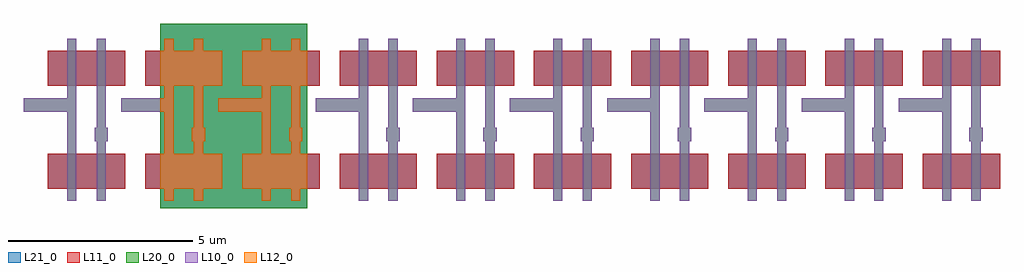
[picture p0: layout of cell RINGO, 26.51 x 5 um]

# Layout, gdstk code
import gdstk
lib = gdstk.Library(unit=1e-6, precision=1e-09)
def R(c, l, rs):  # rectangles x0, y0, x1, y1
    for r in rs: c.add(gdstk.rectangle(r[:2], r[2:], *l))
def A(c, l, x, y, w, h, nx, ny, dx, dy):  # array of equal rectangles
    R(c, l, [(x+i*dx, y+j*dy, x+i*dx+w, y+j*dy+h) for i in range(nx) for j in range(ny)])
L10_0 = (10, 0)
L11_0 = (11, 0)
L12_0 = (12, 0)
L20_0 = (20, 0)
L21_0 = (21, 0)

trans_clip_var = lib.new_cell('TRANS$CLIP_VAR')
R(trans_clip_var, L10_0, [(-0.24,-0.475,0.65,0.475)])
R(trans_clip_var, L12_0, [(-0.24,-0.475,0.65,0.475)])

trans = lib.new_cell('TRANS')
R(trans, L10_0, [(-0.65,-0.475,0.65,0.475)])
R(trans, L12_0, [(-0.65,-0.475,0.65,0.475)])

trans_1_1 = lib.new_cell('TRANS$1$1')
R(trans_1_1, L11_0, [(-0.125,-0.8,0.125,0.8)])
R(trans_1_1, L12_0, [(-0.125,-0.8,0.125,0.8)])

inv2_clip_var = lib.new_cell('INV2$CLIP_VAR')
R(inv2_clip_var, L11_0, [(-0.525,-0.25,-0.275,2.25), (0.275,-0.25,0.525,2.25), (0.22,0.82,0.58,1.18), (-0.64,1.62,-0.4,1.98)])
R(inv2_clip_var, L12_0, [(-0.525,-0.25,-0.275,2.25), (0.275,-0.25,0.525,2.25), (0.22,0.82,0.58,1.18), (-0.64,1.62,-0.4,1.98)])
inv2_clip_var.add(gdstk.Reference(trans_clip_var, (-0.4,0)))
inv2_clip_var.add(gdstk.Reference(trans_clip_var, (-0.4,2.8)))
inv2_clip_var.add(gdstk.Reference(trans, (0.4,0), x_reflection=True))
inv2_clip_var.add(gdstk.Reference(trans, (0.4,2.8), x_reflection=True))
inv2_clip_var.add(gdstk.Reference(trans_1_1, (-0.4,0)))
inv2_clip_var.add(gdstk.Reference(trans_1_1, (-0.4,2.8)))
inv2_clip_var.add(gdstk.Reference(trans_1_1, (0.4,0), x_reflection=True))
inv2_clip_var.add(gdstk.Reference(trans_1_1, (0.4,2.8), x_reflection=True))

trans_clip_var_1 = lib.new_cell('TRANS$CLIP_VAR$1')
R(trans_clip_var_1, L10_0, [(-0.65,-0.475,0.32,0.475)])
R(trans_clip_var_1, L12_0, [(-0.65,-0.475,0.32,0.475)])

inv2_clip_var_1 = lib.new_cell('INV2$CLIP_VAR$1')
R(inv2_clip_var_1, L11_0, [(-0.525,-0.25,-0.275,2.25), (0.275,-0.25,0.525,2.25), (0.22,0.82,0.58,1.18), (-1.7,1.62,-0.4,1.98)])
R(inv2_clip_var_1, L12_0, [(-0.525,-0.25,-0.275,2.25), (0.275,-0.25,0.525,2.25), (0.22,0.82,0.58,1.18), (-1.7,1.62,-0.4,1.98)])
inv2_clip_var_1.add(gdstk.Reference(trans, (-0.4,0)))
inv2_clip_var_1.add(gdstk.Reference(trans, (-0.4,2.8)))
inv2_clip_var_1.add(gdstk.Reference(trans_clip_var_1, (0.4,0), x_reflection=True))
inv2_clip_var_1.add(gdstk.Reference(trans_clip_var_1, (0.4,2.8), x_reflection=True))
inv2_clip_var_1.add(gdstk.Reference(trans_1_1, (-0.4,0)))
inv2_clip_var_1.add(gdstk.Reference(trans_1_1, (-0.4,2.8)))
inv2_clip_var_1.add(gdstk.Reference(trans_1_1, (0.4,0), x_reflection=True))
inv2_clip_var_1.add(gdstk.Reference(trans_1_1, (0.4,2.8), x_reflection=True))

trans_1 = lib.new_cell('TRANS$1')
R(trans_1, L10_0, [(-0.125,-0.8,0.125,0.8)])
R(trans_1, L11_0, [(-0.65,-0.475,0.65,0.475)])
R(trans_1, L21_0, [(-0.65,-0.475,0.65,0.475)])

inv2 = lib.new_cell('INV2')
R(inv2, L10_0, [(-0.525,-0.25,-0.275,2.25), (0.275,-0.25,0.525,2.25), (0.22,0.82,0.58,1.18), (-1.7,1.62,-0.4,1.98)])
inv2.add(gdstk.Reference(trans_1, (-0.4,0)))
inv2.add(gdstk.Reference(trans_1, (-0.4,2.8)))
inv2.add(gdstk.Reference(trans_1, (0.4,0), x_reflection=True))
inv2.add(gdstk.Reference(trans_1, (0.4,2.8), x_reflection=True))

ringo = lib.new_cell('RINGO')
A(ringo, L20_0, 0.22, 0.82, 0.36, 0.36, 10, 1, 2.64, 0)
A(ringo, L20_0, -1.7, 1.62, 1.3, 0.36, 10, 1, 2.64, 0)
R(ringo, L20_0, [(2,-1,6,4), (-0.525,-0.8,-0.275,0.8), (0.275,-0.8,0.525,0.8), (2.115,-0.8,2.365,0.8), (2.915,-0.8,3.165,0.8), (4.755,-0.8,5.005,0.8), (5.555,-0.8,5.805,0.8), (7.395,-0.8,7.645,0.8), (8.195,-0.8,8.445,0.8), (10.035,-0.8,10.285,0.8), (10.835,-0.8,11.085,0.8), (12.675,-0.8,12.925,0.8), (13.475,-0.8,13.725,0.8), (15.315,-0.8,15.565,0.8), (16.115,-0.8,16.365,0.8), (17.955,-0.8,18.205,0.8), (18.755,-0.8,19.005,0.8), (20.595,-0.8,20.845,0.8), (21.395,-0.8,21.645,0.8), (23.235,-0.8,23.485,0.8), (24.035,-0.8,24.285,0.8), (-0.525,-0.25,-0.275,2.25), (0.275,-0.25,0.525,2.25), (2.115,-0.25,2.365,2.25), (2.915,-0.25,3.165,2.25), (4.755,-0.25,5.005,2.25), (5.555,-0.25,5.805,2.25), (7.395,-0.25,7.645,2.25), (8.195,-0.25,8.445,2.25), (10.035,-0.25,10.285,2.25), (10.835,-0.25,11.085,2.25), (12.675,-0.25,12.925,2.25), (13.475,-0.25,13.725,2.25), (15.315,-0.25,15.565,2.25), (16.115,-0.25,16.365,2.25), (17.955,-0.25,18.205,2.25), (18.755,-0.25,19.005,2.25), (20.595,-0.25,20.845,2.25), (21.395,-0.25,21.645,2.25), (23.235,-0.25,23.485,2.25), (24.035,-0.25,24.285,2.25), (-0.525,2,-0.275,3.6), (0.275,2,0.525,3.6), (2.115,2,2.365,3.6), (2.915,2,3.165,3.6), (4.755,2,5.005,3.6), (5.555,2,5.805,3.6), (7.395,2,7.645,3.6), (8.195,2,8.445,3.6), (10.035,2,10.285,3.6), (10.835,2,11.085,3.6), (12.675,2,12.925,3.6), (13.475,2,13.725,3.6), (15.315,2,15.565,3.6), (16.115,2,16.365,3.6), (17.955,2,18.205,3.6), (18.755,2,19.005,3.6), (20.595,2,20.845,3.6), (21.395,2,21.645,3.6), (23.235,2,23.485,3.6), (24.035,2,24.285,3.6)])
R(ringo, L21_0, [(2,-1,6,4)])
ringo.add(gdstk.Reference(inv2_clip_var, (2.64,0)))
ringo.add(gdstk.Reference(inv2_clip_var_1, (5.28,0)))
ringo.add(gdstk.Reference(inv2, (0,0)))
ringo.add(gdstk.Reference(inv2, (2.64,0)))
ringo.add(gdstk.Reference(inv2, (5.28,0)))
ringo.add(gdstk.Reference(inv2, (7.92,0)))
ringo.add(gdstk.Reference(inv2, (10.56,0)))
ringo.add(gdstk.Reference(inv2, (13.2,0)))
ringo.add(gdstk.Reference(inv2, (15.84,0)))
ringo.add(gdstk.Reference(inv2, (18.48,0)))
ringo.add(gdstk.Reference(inv2, (21.12,0)))
ringo.add(gdstk.Reference(inv2, (23.76,0)))

lib.write_gds('RINGO.gds')
